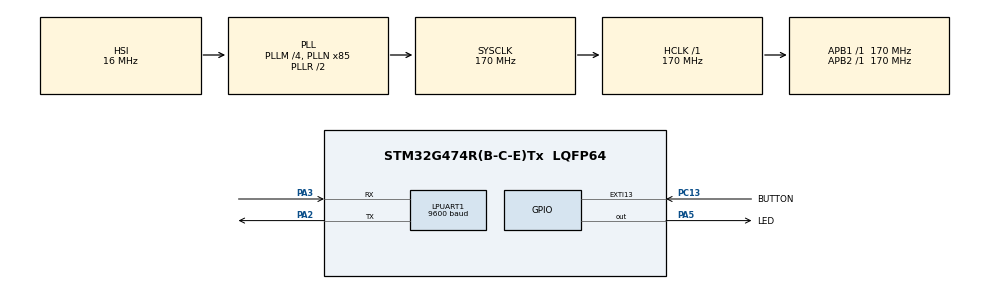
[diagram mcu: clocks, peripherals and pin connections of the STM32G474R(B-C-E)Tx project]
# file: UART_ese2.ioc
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LPUART1.BaudRate=9600
Mcu.Family=STM32G4
Mcu.Name=STM32G474R(B-C-E)Tx
Mcu.Package=LQFP64
NVIC.EXTI15_10_IRQn=true\:0\:0\:false\:false\:true\:true\:true\:true
NVIC.LPUART1_IRQn=true\:0\:0\:false\:false\:true\:true\:true\:true
NVIC.PriorityGroup=NVIC_PRIORITYGROUP_4
PA2.Mode=Asynchronous
PA2.Signal=LPUART1_TX
PA3.Mode=Asynchronous
PA3.Signal=LPUART1_RX
PA5.GPIO_Label=LED
PA5.Signal=GPIO_Output
PC13.GPIO_Label=BUTTON
PC13.Signal=GPXTI13
ProjectManager.HeapSize=0x200
ProjectManager.StackSize=0x400
ProjectManager.TargetToolchain=STM32CubeIDE
RCC.ADC12Freq_Value=170000000
RCC.ADC345Freq_Value=170000000
RCC.AHBFreq_Value=170000000
RCC.APB1Freq_Value=170000000
RCC.APB1TimFreq_Value=170000000
RCC.APB2Freq_Value=170000000
RCC.APB2TimFreq_Value=170000000
RCC.CortexFreq_Value=170000000
RCC.EXTERNAL_CLOCK_VALUE=12288000
RCC.HCLKFreq_Value=170000000
RCC.HSE_VALUE=24000000
RCC.HSI48_VALUE=48000000
RCC.HSI_VALUE=16000000
RCC.LPUART1CLockSelection=RCC_LPUART1CLKSOURCE_HSI
RCC.LSE_VALUE=32768
RCC.PLLM=RCC_PLLM_DIV4
RCC.PLLN=85
RCC.RTCClockSelection=RCC_RTCCLKSOURCE_LSE
RCC.SYSCLKFreq_VALUE=170000000
RCC.SYSCLKSource=RCC_SYSCLKSOURCE_PLLCLK
RCC.USBFreq_Value=170000000
RCC.VCOOutputFreq_Value=340000000
VP_SYS_VS_DBSignals.Mode=DisableDeadBatterySignals
board=NUCLEO-G474RE

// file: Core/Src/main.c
/* USER CODE BEGIN Header */
/**
  ******************************************************************************
  * @file           : main.c
  * @brief          : Main program body
  ******************************************************************************
  * @attention
  *
  * Copyright (c) 2026 STMicroelectronics.
  * All rights reserved.
  *
  * This software is licensed under terms that can be found in the LICENSE file
  * in the root directory of this software component.
  * If no LICENSE file comes with this software, it is provided AS-IS.
  *
  ******************************************************************************
  */
/* USER CODE END Header */
#include "main.h"
#include "usart.h"
#include "gpio.h"

/* USER CODE BEGIN Includes */
#include "stdlib.h"
#include "string.h"
/* USER CODE END Includes */

/* USER CODE BEGIN PD */
#define SIZE 10
/* USER CODE END PD */

/* USER CODE BEGIN PV */
static uint32_t half_period=500;
static volatile uint8_t set_period=0; //
static char c;
static char buffer[SIZE];
static uint8_t idx;
static uint8_t uart_rx_completed=1;

/* USER CODE END PV */

void SystemClock_Config(void);

int main(void)
{

  /* MCU Configuration--------------------------------------------------------*/

  /* Reset of all peripherals, Initializes the Flash interface and the Systick. */
  HAL_Init();

  /* Configure the system clock */
  SystemClock_Config();

  /* Initialize all configured peripherals */
  MX_GPIO_Init();
  MX_LPUART1_UART_Init();

  /* Infinite loop */
  while (1)
  {

    /* USER CODE BEGIN 3 */
	HAL_GPIO_TogglePin(LED_GPIO_Port, LED_Pin);
	HAL_Delay(half_period);
  }
  /* USER CODE END 3 */
}

void SystemClock_Config(void)
{
  RCC_OscInitTypeDef RCC_OscInitStruct = {0};
  RCC_ClkInitTypeDef RCC_ClkInitStruct = {0};

  /** Configure the main internal regulator output voltage
  */
  HAL_PWREx_ControlVoltageScaling(PWR_REGULATOR_VOLTAGE_SCALE1_BOOST);

  /** Initializes the RCC Oscillators according to the specified parameters
  * in the RCC_OscInitTypeDef structure.
  */
  RCC_OscInitStruct.OscillatorType = RCC_OSCILLATORTYPE_HSI;
  RCC_OscInitStruct.HSIState = RCC_HSI_ON;
  RCC_OscInitStruct.HSICalibrationValue = RCC_HSICALIBRATION_DEFAULT;
  RCC_OscInitStruct.PLL.PLLState = RCC_PLL_ON;
  RCC_OscInitStruct.PLL.PLLSource = RCC_PLLSOURCE_HSI;
  RCC_OscInitStruct.PLL.PLLM = RCC_PLLM_DIV4;
  RCC_OscInitStruct.PLL.PLLN = 85;
  RCC_OscInitStruct.PLL.PLLP = RCC_PLLP_DIV2;
  RCC_OscInitStruct.PLL.PLLQ = RCC_PLLQ_DIV2;
  RCC_OscInitStruct.PLL.PLLR = RCC_PLLR_DIV2;
  if (HAL_RCC_OscConfig(&RCC_OscInitStruct) != HAL_OK)
  {
    Error_Handler();
  }

  /** Initializes the CPU, AHB and APB buses clocks
  */
  RCC_ClkInitStruct.ClockType = RCC_CLOCKTYPE_HCLK|RCC_CLOCKTYPE_SYSCLK
                              |RCC_CLOCKTYPE_PCLK1|RCC_CLOCKTYPE_PCLK2;
  RCC_ClkInitStruct.SYSCLKSource = RCC_SYSCLKSOURCE_PLLCLK;
  RCC_ClkInitStruct.AHBCLKDivider = RCC_SYSCLK_DIV1;
  RCC_ClkInitStruct.APB1CLKDivider = RCC_HCLK_DIV1;
  RCC_ClkInitStruct.APB2CLKDivider = RCC_HCLK_DIV1;

  if (HAL_RCC_ClockConfig(&RCC_ClkInitStruct, FLASH_LATENCY_4) != HAL_OK)
  {
    Error_Handler();
  }
}

/* USER CODE BEGIN 4 */

//HAL_UART_Receive_IT(UART_HandleTypeDef *huart, uint8_t *pData, uint16_t Size)
//HAL_UART_Transmit_IT(UART_HandleTypeDef *huart, const uint8_t *pData, uint16_t Size)
void print_message(const char* msg){
	if(uart_rx_completed){
		uart_rx_completed=0;
		HAL_UART_Transmit_IT(&hlpuart1, (uint8_t*)msg, strlen(msg));

	}
}

void HAL_GPIO_EXTI_Callback(uint16_t GPIO_Pin){
	if(GPIO_Pin == BUTTON_Pin){

		//Dice alla UART di smettere immediatamente di ascoltare il canale in background.
		//Cancella tutto quello che stavi aspettando di ricevere,
		//azzera i buffer, torna nello stato Libero perché adesso devo trasmettere un messaggio prioritario
		HAL_UART_AbortReceive(&hlpuart1);
		idx = 0;
		memset(buffer, 0, SIZE); // Pulisce il buffer da vecchi residui

		print_message("\r\ninserire il perdiodo\r\n");
		//funzione non bloccante, delega il lavoro alla periferica hardaware(UART) e al NVIC, liberando la CPU
	}
}

//viene chiamata esattamente nel microsecondo
//in cui l'ultimo bit dell'ultimo byte è uscito fisicamente dal pin del microcontrollore
void HAL_UART_TxCpltCallback(UART_HandleTypeDef *huart){
	if(huart==&hlpuart1){
		uart_rx_completed=1;
		//deve essere della stessa interfaccia
		//RICHIESTA DI RICEZIONE non BLOCCANTE
		//quando il dato dall uart viene depositato nel RDR
		//l'hardware della UART solleva automaticamente un flag (un interruttore)
		//chiamato RXNE (Receive Data Register Not Empty - Registro di ricezione non vuoto).
		//questo dato viene preso in RDR e depositato in nella varaibile c
		HAL_UART_Receive_IT(&hlpuart1, (uint8_t*) &c, 1);

	}
}

//Viene chiamata automaticamente dall'hardware non appena il microcontrollore
//ha finito di ricevere il numero di byte che gli avevi chiesto di aspettare con la HAL_UART_Receive_IT.

void HAL_UART_RxCpltCallback(UART_HandleTypeDef *huart){
	if(huart==&hlpuart1){
		//il buffer deve essere chiuso
		if(c=='\n' || c=='\r'){
			buffer[idx]='\0';
			half_period=atoi(buffer)/2;
			idx=0;
			return;
		}
		if(c>='0' && c<='9'){
			buffer[idx++]=c;
			if (idx == SIZE - 1) {
				//stiamo nel ultimo spazio disponibile del buffer, dobbiamo inserire il terminatore
				buffer[idx] = '\0';
				half_period = (atoi(buffer)) / 2;
				idx = 0;

			}
		}

		//devo riarmare la ricezione,stiamo dicendo che abbiamo ottenuto il byte e dobbiamo richiederne un altro
		//nel caso in cui si inserisca un numero a due cifre, prima ne richieno uno, riarmo e ne richiedo un altro
		HAL_UART_Receive_IT(&hlpuart1, (uint8_t*) &c, 1);
	}
}

/* USER CODE END 4 */

void Error_Handler(void)
{
  __disable_irq();
  while (1)
  {
  }
}
